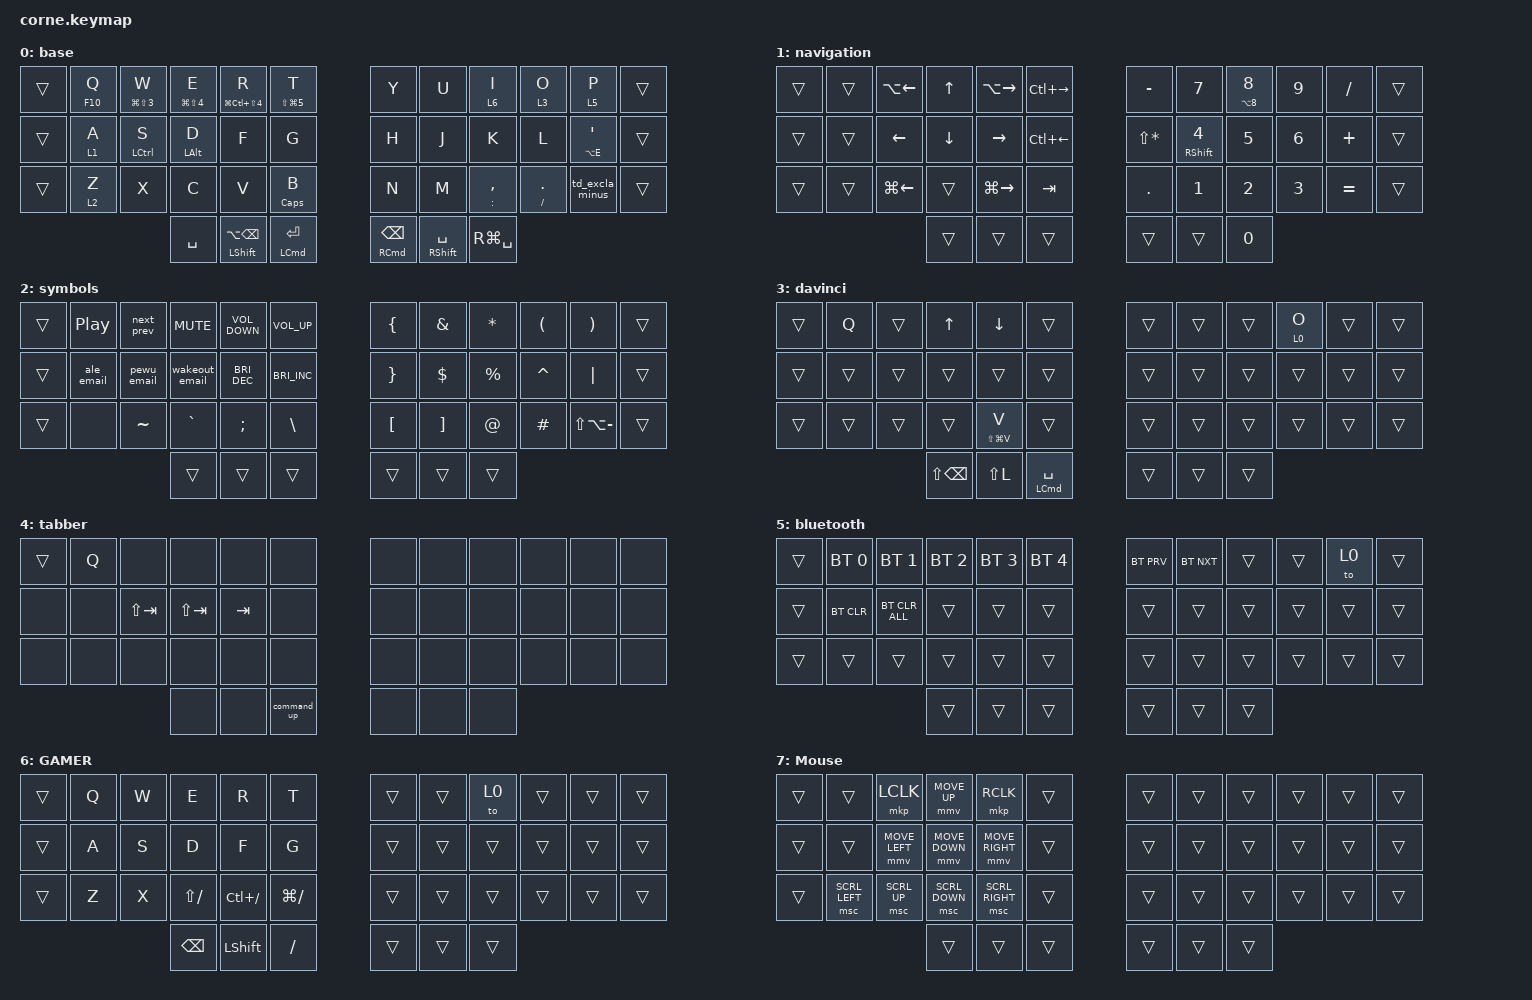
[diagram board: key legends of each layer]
#include <dt-bindings/zmk/modifiers.h>

#define ZMK_POINTING_DEFAULT_MOVE_VAL 500  // default is 600
#define ZMK_POINTING_DEFAULT_SCRL_VAL 25    // default is 10

#include <behaviors.dtsi>
#include <dt-bindings/zmk/bt.h>
#include <dt-bindings/zmk/keys.h>
#include <dt-bindings/zmk/pointing.h>

// Configure hold-tap behaviors (optional: using default 200ms tapping term)

&mt {
    flavor = "tap-preferred";
    tapping-term-ms = <165>;
};   // Mod-tap (for home row mods)
&lt { tapping_term_ms = <200>; };

&msc { time-to-max-speed-ms = <50>; };

&mmv {
    time-to-max-speed-ms = <300>;
    acceleration-exponent = <1>;
};   // Layer-tap (for layer keys)
/ {
    behaviors {
        next_prev: next_prev {
            compatible = "zmk,behavior-tap-dance";
            label = "NEXT_PREV";
            #binding-cells = <0>;
            bindings = <&kp C_NEXT>, <&kp C_PREV>;

            tapping-term-ms = <150>;
        };

        slowlayer: slowlayer {
            compatible = "zmk,behavior-hold-tap";
            label = "SLOWLAYER";
            #binding-cells = <2>;
            bindings = <&to>, <&kp>;

            tapping-term-ms = <500>;
            flavor = "tap-preferred";
        };

        td_excla_minus: td_excla_minus {
            compatible = "zmk,behavior-tap-dance";
            label = "TD_EXCLA_MINUS";
            #binding-cells = <0>;
            bindings =
                <&mt LA(NUMBER_1) EXCLAMATION>,
                <&mt LA(LS(SLASH)) QUESTION>;

            tapping-term-ms = <220>;
        };

        mt_300: mt_300 {
            compatible = "zmk,behavior-hold-tap";
            label = "MT_300";
            #binding-cells = <2>;
            tapping-term-ms = <300>;
            flavor = "tap-preferred";
            bindings = <&kp>, <&kp>;
        };
    };

    macros {
        ale_email: ale_email {
            compatible = "zmk,behavior-macro";
            #binding-cells = <0>;
            bindings = <&kp A &kp L &kp E &kp J &kp A &kp N &kp D &kp R &kp O &kp W &kp U &kp N &kp D &kp E &kp R &kp L &kp I &kp C &kp H &kp AT &kp G &kp M &kp A &kp I &kp L &kp DOT &kp C &kp O &kp M>;
            label = "ALE_EMAIL";
        };

        pewu_email: pewu_email {
            compatible = "zmk,behavior-macro";
            #binding-cells = <0>;
            bindings = <&kp P &kp E &kp W &kp U &kp AT &kp H &kp E &kp Y &kp DOT &kp C &kp O &kp M>;
            label = "PEWU_EMAIL";
        };

        macro_to_cmd: macro_to_cmd {
            compatible = "zmk,behavior-macro";
            #binding-cells = <0>;
            bindings =
                <&to 4>,
                <&macro_press>,
                <&kp LEFT_COMMAND>,
                <&macro_tap>,
                <&kp TAB>;

            label = "MACRO_TO_CMD";
        };

        command_up: macro_release {
            compatible = "zmk,behavior-macro";
            #binding-cells = <0>;
            bindings =
                <&macro_release>,
                <&kp LEFT_COMMAND>,
                <&macro_tap>,
                <&to 0>;

            label = "MACRO_RELEASE";
        };

        macro_esc_release: macro_esc_release {
            compatible = "zmk,behavior-macro";
            #binding-cells = <0>;
            bindings =
                <&macro_release>,
                <&kp LEFT_COMMAND>,
                <&macro_tap>,
                <&kp ESCAPE &to 0>;

            label = "MACRO_ESC_RELEASE";
        };

        macro_rel_simple: macro_rel_simple {
            compatible = "zmk,behavior-macro";
            #binding-cells = <0>;
            bindings =
                <&macro_release>,
                <&kp LEFT_COMMAND>,
                <&macro_tap>,
                <&to 0>;

            label = "MACRO_REL_SIMPLE";
        };

        hyphen_space: hyphen_space {
            compatible = "zmk,behavior-macro";
            #binding-cells = <0>;
            bindings = <&kp MINUS &kp SPACE>;
            label = "HYPHEN_SPACE";
        };

        enye_lowercase: enye_lowercase {
            compatible = "zmk,behavior-macro";
            #binding-cells = <0>;
            bindings = <&kp LA(N) &kp N>;
            label = "ENYE_LOWERCASE";
        };

        enye_uppercase: enye_uppercase {
            compatible = "zmk,behavior-macro";
            #binding-cells = <0>;
            bindings =
                <&kp LA(N)>,
                <&macro_press>,
                <&kp LEFT_SHIFT>,
                <&macro_tap>,
                <&kp N>,
                <&macro_release>,
                <&kp LEFT_SHIFT>;

            label = "ENYE_UPPERCASE";
        };

        wakeout_email: wakeout_email {
            compatible = "zmk,behavior-macro";
            #binding-cells = <0>;
            bindings = <&kp P &kp E &kp D &kp R &kp O &kp AT &kp W &kp A &kp K &kp E &kp O &kp U &kp T &kp DOT &kp C &kp O>;
            label = "WAKEOUT_EMAIL";
        };
    };

    combos {
        compatible = "zmk,combos";

        combo_esc {
            bindings = <&kp ESCAPE>;
            key-positions = <3 2>;
            layers = <0 3>;
            require-prior-idle-ms = <150>;
        };

        davinci_ret {
            bindings = <&kp RET>;
            key-positions = <12 13>;
            layers = <3>;
        };

        combo_backspace {
            bindings = <&kp BACKSPACE>;
            key-positions = <12 13>;
            layers = <0>;
            require-prior-idle-ms = <150>;
        };

        combo_copy {
            bindings = <&kp LG(C)>;
            key-positions = <23 22>;
            layers = <0>;
            require-prior-idle-ms = <150>;
        };

        combo_paste {
            bindings = <&kp LG(V)>;
            key-positions = <24 23>;
            layers = <0>;
            require-prior-idle-ms = <150>;
        };

        tabber {
            bindings = <&macro_to_cmd>;
            key-positions = <12 13 11>;
            layers = <0 6>;
            require-prior-idle-ms = <400>;
        };

        combo_finder {
            bindings = <&kp LG(LA(SPACE))>;
            key-positions = <20 21>;
            layers = <0>;
        };

        combo_obsidian {
            bindings = <&kp LG(LC(LA(O)))>;
            key-positions = <0 1>;
            layers = <0>;
            require-prior-idle-ms = <400>;
        };

        combo_claude {
            bindings = <&kp LG(LC(LA(LS(C))))>;
            key-positions = <1 2>;
            layers = <0>;
            require-prior-idle-ms = <150>;
        };

        quick_hyphen {
            bindings = <&kp MINUS>;
            key-positions = <29 28>;
            require-prior-idle-ms = <150>;
            layers = <0>;
        };

        enye_lower {
            bindings = <&enye_lowercase>;
            key-positions = <25 26>;
            layers = <0>;
        };

        enye_upper {
            bindings = <&enye_uppercase>;
            key-positions = <25 26 27>;
            layers = <0>;
        };

        esc_cmd_tab {
            bindings = <&macro_esc_release>;
            key-positions = <3 2>;
            require-prior-idle-ms = <150>;
            layers = <4>;
        };
    };

    keymap {
        compatible = "zmk,keymap";

        // Base Layer: QWERTY with home-row mods and layer-tap keys

        base {
            bindings = <
&trans  &mt F10 Q  &mt_300 LG(LS(NUMBER_3)) W  &mt_300 LG(LS(NUMBER_4)) E  &mt_300 LG(LC(LS(NUMBER_4))) R  &mt_300 LS(LG(N5)) T      &kp Y                        &kp U                  &slowlayer 6 I   &slowlayer 3 O  &slowlayer 5 P          &trans
&trans  &lt 1 A    &mt LEFT_CONTROL S          &mt LEFT_ALT D              &kp F                           &kp G                     &kp H                        &kp J                  &kp K            &kp L           &mt LA(E) SINGLE_QUOTE  &trans
&trans  &lt 2 Z    &kp X                       &kp C                       &kp V                           &mt CAPSLOCK B            &kp N                        &kp M                  &mt COLON COMMA  &mt SLASH DOT   &td_excla_minus         &trans
                                               &kp SPACE                   &mt LEFT_SHIFT LA(BACKSPACE)    &mt LEFT_COMMAND ENTER    &mt RIGHT_COMMAND BACKSPACE  &mt RIGHT_SHIFT SPACE  &kp RG(SPACE)
            >;
        };

        navigation {
            bindings = <
&trans  &trans  &kp LA(LEFT)  &kp UP    &kp LA(RIGHT)  &kp LC(RIGHT_ARROW)    &kp MINUS         &kp N7                    &mt LA(N8) N8  &kp N9  &kp FSLH   &trans
&trans  &trans  &kp LEFT      &kp DOWN  &kp RIGHT      &kp LC(LEFT_ARROW)     &kp LS(ASTERISK)  &mt RIGHT_SHIFT NUMBER_4  &kp N5         &kp N6  &kp PLUS   &trans
&trans  &trans  &kp LG(LEFT)  &trans    &kp LG(RIGHT)  &kp TAB                &kp DOT           &kp N1                    &kp N2         &kp N3  &kp EQUAL  &trans
                              &trans    &trans         &trans                 &trans            &trans                    &kp N0
            >;
        };

        symbols {
            bindings = <
&trans  &kp C_PLAY_PAUSE  &next_prev   &kp K_MUTE      &kp C_VOLUME_DOWN     &kp C_VOLUME_UP         &kp LEFT_BRACE   &kp AMPERSAND  &kp ASTERISK  &kp LEFT_PARENTHESIS  &kp RIGHT_PARENTHESIS  &trans
&trans  &ale_email        &pewu_email  &wakeout_email  &kp C_BRIGHTNESS_DEC  &kp C_BRIGHTNESS_INC    &kp RIGHT_BRACE  &kp DOLLAR     &kp PERCENT   &kp CARET             &kp PIPE               &trans
&trans  &none             &kp TILDE    &kp GRAVE       &kp SEMICOLON         &kp BACKSLASH           &kp LBKT         &kp RBKT       &kp AT_SIGN   &kp HASH              &kp LS(LA(MINUS))      &trans
                                       &trans          &trans                &trans                  &trans           &trans         &trans
            >;
        };

        davinci {
            bindings = <
&trans  &kp Q   &trans  &kp UP_ARROW       &kp DOWN_ARROW   &trans                    &trans  &trans  &trans  &slowlayer 0 O  &trans  &trans
&trans  &trans  &trans  &trans             &trans           &trans                    &trans  &trans  &trans  &trans          &trans  &trans
&trans  &trans  &trans  &trans             &mt LS(LG(V)) V  &trans                    &trans  &trans  &trans  &trans          &trans  &trans
                        &kp LS(BACKSPACE)  &kp LS(L)        &mt LEFT_COMMAND SPACE    &trans  &trans  &trans
            >;
        };

        tabber {
            bindings = <
&trans  &kp Q  &none        &none        &none    &none          &none  &none  &none  &none  &none  &none
&none   &none  &kp LS(TAB)  &kp LS(TAB)  &kp TAB  &none          &none  &none  &none  &none  &none  &none
&none   &none  &none        &none        &none    &none          &none  &none  &none  &none  &none  &none
                            &none        &none    &command_up    &none  &none  &none
            >;
        };

        bluetooth {
            bindings = <
&trans  &bt BT_SEL 0  &bt BT_SEL 1    &bt BT_SEL 2  &bt BT_SEL 3  &bt BT_SEL 4    &bt BT_PRV  &bt BT_NXT  &trans  &trans  &to 0   &trans
&trans  &bt BT_CLR    &bt BT_CLR_ALL  &trans        &trans        &trans          &trans      &trans      &trans  &trans  &trans  &trans
&trans  &trans        &trans          &trans        &trans        &trans          &trans      &trans      &trans  &trans  &trans  &trans
                                      &trans        &trans        &trans          &trans      &trans      &trans
            >;
        };

        GAMER {
            bindings = <
&trans  &kp Q  &kp W  &kp E          &kp R           &kp T            &trans  &trans  &to 0   &trans  &trans  &trans
&trans  &kp A  &kp S  &kp D          &kp F           &kp G            &trans  &trans  &trans  &trans  &trans  &trans
&trans  &kp Z  &kp X  &kp LS(SLASH)  &kp LC(SLASH)   &kp LG(SLASH)    &trans  &trans  &trans  &trans  &trans  &trans
                      &kp BACKSPACE  &kp LEFT_SHIFT  &kp SLASH        &trans  &trans  &trans
            >;
        };

        Mouse {
            bindings = <
&trans  &trans          &mkp LCLK       &mmv MOVE_UP    &mkp RCLK        &trans    &trans  &trans  &trans  &trans  &trans  &trans
&trans  &trans          &mmv MOVE_LEFT  &mmv MOVE_DOWN  &mmv MOVE_RIGHT  &trans    &trans  &trans  &trans  &trans  &trans  &trans
&trans  &msc SCRL_LEFT  &msc SCRL_UP    &msc SCRL_DOWN  &msc SCRL_RIGHT  &trans    &trans  &trans  &trans  &trans  &trans  &trans
                                        &trans          &trans           &trans    &trans  &trans  &trans
            >;
        };
    };
};
